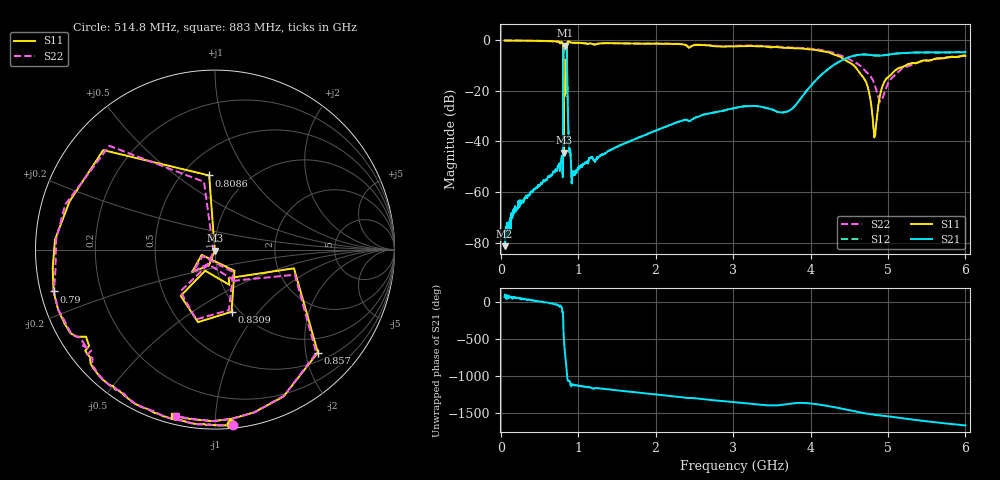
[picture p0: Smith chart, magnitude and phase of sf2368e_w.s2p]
# Hz S RI R 50
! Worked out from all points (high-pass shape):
!   1601 points, 50 MHz to 6 GHz, reference 50 ohm
!   highest |S21| = -2.11 dB at 827.2 MHz (marker M1); lowest = -81.4 dB at 50 MHz (marker M2)
!   |S21| within 3 dB of the highest: 810.1 MHz to 852.7 MHz (42.53 MHz wide, 5.11 % of centre); 5.13 GHz to end of sweep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
!   lowest |S11| = -44.4 dB at 812.3 MHz (marker M3), VSWR 1.01, Z = 49.8 - j0.583 ohm
!   |S11| at or under -10 dB: 808.9 MHz to 830.4 MHz (21.5 MHz wide, 2.62 % of centre); 838.4 MHz to 851.8 MHz (13.4 MHz wide, 1.59 % of centre); 4.563 GHz to 5.224 GHz (660.3 MHz wide, 13.5 % of centre)
!   |S22| runs from -36.5 to 0.0 dB; largest |S21 - S12| = 0.0081
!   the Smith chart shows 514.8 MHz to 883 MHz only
!   S11 on the Smith chart (normalised r, x): 514.8 MHz: 0.03, -1.10; 790 MHz: 0.04, -0.13; 808.6 MHz: 0.67, +0.67; 830.9 MHz: 0.92, -0.73; 857 MHz: 0.67, -2.24; 883 MHz: 0.04, -0.78
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5e7  0.9882 -0.1451  3.09e-05 7.88e-05  4.12e-05 7.69e-05  0.9896 -0.1432
5.148438e8  0.0907 -0.9721  0.00141 0.000157  0.00143 0.000148  0.1013 -0.9763
7.714375e8  -0.7187 -0.4855  0.00235 -0.00276  0.00234 -0.00278  -0.7176 -0.5409
7.900312e8  -0.8995 -0.2332  0.000819 -0.00521  0.000799 -0.0052  -0.8977 -0.2383
8.08625e8  -0.0325 0.4131  0.4538 0.1404  0.4534 0.1406  -0.0612 0.3775
8.123438e8  -0.0015 -0.00585  -0.0483 -0.6949  -0.0469 -0.6949  -0.00814 -0.0125
8.272188e8  0.1082 -0.1183  0.4912 0.6117  0.4927 0.612  0.1017 -0.1256
8.309375e8  0.092 -0.3463  0.7321 0.148  0.7328 0.1477  0.0774 -0.337
8.569688e8  0.5732 -0.5734  0.111 0.2208  0.1104 0.221  0.5643 -0.5763
8.83e8  -0.2287 -0.9251  0.00704 0.000588  0.00707 0.000612  -0.2166 -0.9263
9.350625e8  -0.5135 -0.7348  0.00148 -0.00151  0.00148 -0.00145  -0.5019 -0.7432
1.042906e9  -0.7277 -0.5063  0.00155 -0.00298  0.00158 -0.00297  -0.7168 -0.5175
1.481719e9  -0.8428 0.2705  -0.00326 -0.00681  -0.00327 -0.00685  -0.8451 0.2467
2.035812e9  -0.1738 0.8463  -0.0172 -0.00118  -0.0171 -0.00121  -0.2062 0.8421
3.025e9  0.7521 -0.1435  0.00751 0.0454  0.0075 0.0455  0.7841 -0.0508
3.549344e9  0.00904 -0.7452  0.0321 0.024  0.0322 0.024  0.1664 -0.7442
4.017906e9  -0.6574 -0.0708  0.0634 0.1178  0.0631 0.1181  -0.6146 -0.2916
4.590594e9  0.1133 0.2585  0.3516 -0.3683  0.3515 -0.3705  -0.0639 0.3512
4.731906e9  0.1046 0.0752  0.1375 -0.5055  0.1348 -0.5066  0.0595 0.2212
4.828594e9  0.000389 -0.0129  0.00012 -0.5061  -0.000683 -0.505  0.0385 0.1279
5.010812e9  -0.1589 0.1082  -0.1946 -0.4903  -0.1957 -0.4896  -0.1187 0.0909
6e9  0.4583 0.1895  -0.344 0.4774  -0.3437 0.4761  0.4317 0.2491
